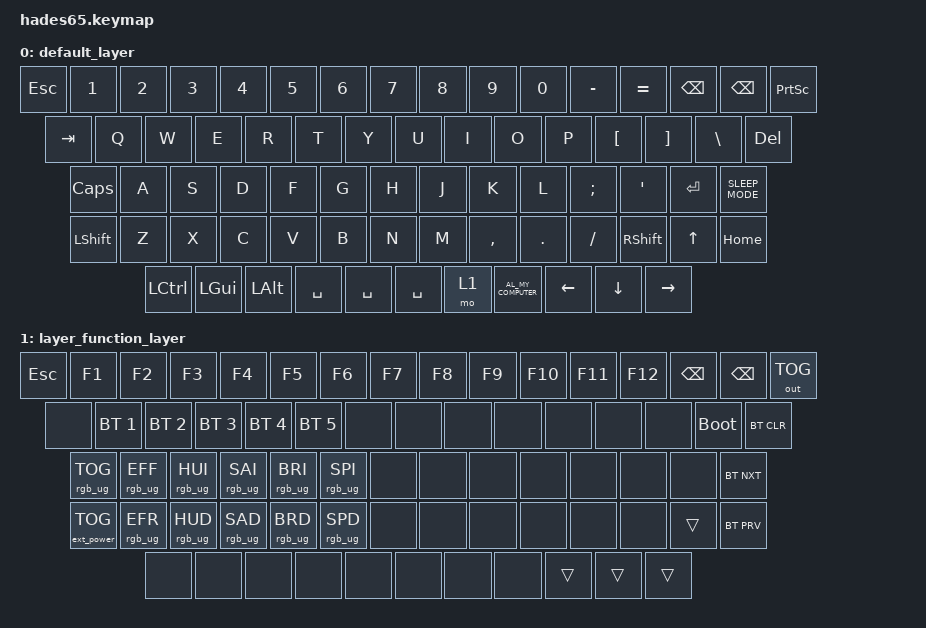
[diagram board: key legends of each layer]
/*
 * Copyright (c) 2021 Nick Winans
 *
 * SPDX-License-Identifier: MIT
 */

#include <behaviors.dtsi>
#include <dt-bindings/zmk/keys.h>
#include <dt-bindings/zmk/outputs.h>
#include <dt-bindings/zmk/bt.h>
#include <dt-bindings/zmk/rgb.h>
#include <dt-bindings/zmk/ext_power.h>

/ {
    keymap {
        compatible = "zmk,keymap";

        default_layer {
            bindings = <
 &kp ESCAPE    &kp N1    &kp N2  &kp N3     &kp N4  &kp N5     &kp N6  &kp N7     &kp N8     &kp N9      &kp N0             &kp MINUS  &kp EQUAL   &kp BSPC   &kp BSPC   &kp PRINTSCREEN
    &kp TAB     &kp Q     &kp W   &kp E      &kp R   &kp T      &kp Y   &kp U      &kp I      &kp O       &kp P                         &kp LBKT   &kp RBKT   &kp BSLH           &kp DEL
   &kp CAPS     &kp A     &kp S   &kp D      &kp F   &kp G      &kp H   &kp J      &kp K      &kp L                          &kp SEMI   &kp APOS             &kp ENTER  &kp C_SLEEP_MODE
  &kp LSHFT               &kp Z   &kp X      &kp C   &kp V      &kp B   &kp N      &kp M  &kp COMMA  &kp PERIOD             &kp SLASH             &kp RSHFT     &kp UP          &kp HOME
  &kp LCTRL  &kp LGUI  &kp LALT          &kp SPACE          &kp SPACE          &kp SPACE                  &mo 1  &kp C_AL_MY_COMPUTER              &kp LEFT   &kp DOWN         &kp RIGHT
            >;
        };

        layer_function_layer {
            bindings = <
           &kp ESC           &kp F1           &kp F2           &kp F3           &kp F4           &kp F5           &kp F6  &kp F7  &kp F8  &kp F9  &kp F10  &kp F11  &kp F12  &kp BSPC     &kp BSPC  &out OUT_TOG
             &none     &bt BT_SEL 1     &bt BT_SEL 2     &bt BT_SEL 3     &bt BT_SEL 4     &bt BT_SEL 5            &none   &none   &none   &none    &none             &none     &none  &bootloader    &bt BT_CLR
   &rgb_ug RGB_TOG  &rgb_ug RGB_EFF  &rgb_ug RGB_HUI  &rgb_ug RGB_SAI  &rgb_ug RGB_BRI  &rgb_ug RGB_SPI            &none   &none   &none   &none             &none    &none                  &none    &bt BT_NXT
 &ext_power EP_TOG                   &rgb_ug RGB_EFR  &rgb_ug RGB_HUD  &rgb_ug RGB_SAD  &rgb_ug RGB_BRD  &rgb_ug RGB_SPD   &none   &none   &none    &none    &none              &none       &trans    &bt BT_PRV
             &none            &none            &none                             &none                             &none           &none            &none    &none             &trans       &trans        &trans
            >;
        };
    };
};
